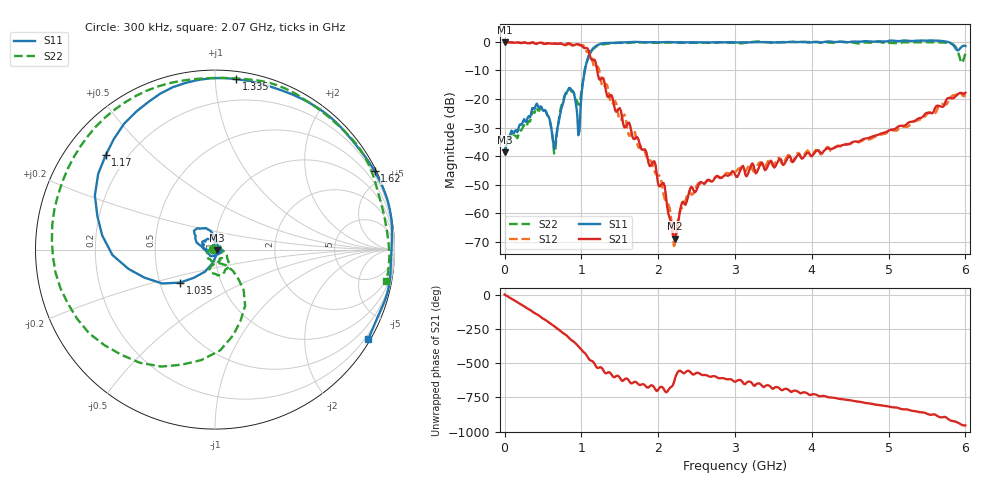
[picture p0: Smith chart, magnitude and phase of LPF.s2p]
! 1/31/2024 9:50:40 AM
! D:\LPF.S2P
! CHANNEL.1
! TR.MEASUREMENT
! CORRECTED.DATA
# GHZ S RI R 50.0
! FREQ.GHZ  S11RE  S11IM  S21RE  S21IM  S12RE  S12IM  S22RE  S22IM
!; PortSelection: Port_12
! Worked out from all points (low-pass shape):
!   401 points, 300 kHz to 6 GHz, reference 50 ohm
!   highest |S21| = -0.13 dB at 300 kHz (marker M1); lowest = -68.8 dB at 2.22 GHz (marker M2)
!   |S21| within 3 dB of the highest: start of sweep to 1.093 GHz
!   lowest |S11| = -38.7 dB at 300 kHz (marker M3), VSWR 1.02, Z = 51.2 - j0.224 ohm
!   |S11| at or under -10 dB: start of sweep to 1.045 GHz
!   |S22| runs from -39.0 to 0.1 dB; largest |S21 - S12| = 0.15
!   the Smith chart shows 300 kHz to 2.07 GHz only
!   S11 on the Smith chart (normalised r, x): 300 kHz: 1.02, -0.00; 1.035 GHz: 0.64, -0.25; 1.17 GHz: 0.12, +0.37; 1.335 GHz: 0.05, +1.13; 1.62 GHz: 0.09, +4.31; 2.07 GHz: 0.08, -3.69
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0.0003  0.0115 -0.00219  0.9853 -0.0016  0.9864 -0.00292  -0.0116 0.00249
0.2552873  -0.028 -0.0349  0.0592 -0.9727  0.0727 -0.9745  0.032 0.0139
0.4952753  -0.0288 0.0571  -0.934 -0.1097  -0.9574 -0.1195  -0.0256 -0.0554
0.6452678  -0.0104 0.00824  -0.5935 0.7218  -0.5902 0.7225  -0.00506 0.00997
0.7502625  -0.0735 0.0171  0.1027 0.9107  0.0979 0.9328  0.0679 -0.048
1.00525  -0.0559 -0.123  0.6001 -0.6083  0.648 -0.5954  0.1005 -0.1192
1.035248  -0.1932 -0.1836  0.3673 -0.6934  0.3305 -0.7669  0.1597 -0.2258
1.170241  -0.6092 0.5254  -0.3933 -0.2905  -0.2833 -0.2043  -0.523 -0.5852
1.335233  0.1194 0.9498  -0.0969 0.0587  -0.1535 0.087  -0.8745 0.3046
1.620219  0.8903 0.436  -0.000706 0.0388  0.000486 0.0228  0.116 0.954
2.0102  0.8984 -0.3944  0.00242 0.00172  0.00362 0.00293  0.9691 0.0138
2.070197  0.8536 -0.4997  0.00283 0.00189  0.00201 0.000775  0.9543 -0.1753
2.220189  0.6874 -0.7026  -0.000131 0.000339  -0.000169 0.000245  0.7767 -0.5963
2.580171  0.1765 -0.9678  -0.0023 0.00249  -0.00218 0.00213  -0.1445 -0.9513
3.00015  -0.4384 -0.874  0.000514 0.0048  -0.000998 0.0051  -0.9293 -0.2641
3.570121  -0.9431 -0.2705  0.00661 0.00564  0.00785 0.00519  -0.2375 0.9614
4.0051  -0.934 0.3276  0.01 -0.00134  0.0104 -0.0012  0.8036 0.5877
4.41008  -0.6658 0.7535  0.0115 -0.0109  0.0108 -0.0113  0.9142 -0.3944
5.01005  0.0687 1.045  -0.00373 -0.0283  -0.00394 -0.0273  -0.291 -0.9189
5.490025  0.6734 0.8082  -0.0474 -0.0316  -0.0407 -0.0333  -0.9883 -0.0334
5.820009  0.9003 0.2497  -0.0965 0.0361  -0.1092 0.0262  -0.4684 0.7975
6  0.8392 0.1276  -0.0757 0.1044  -0.0827 0.088  -0.4072 0.4679
